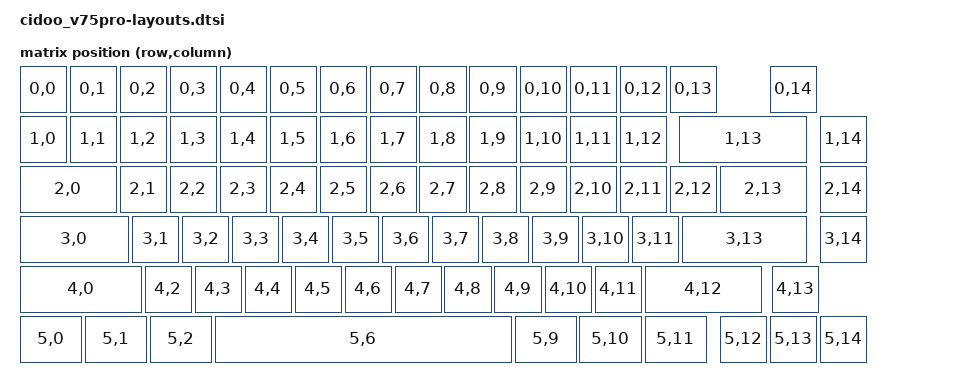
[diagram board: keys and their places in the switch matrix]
/*
 * SPDX-License-Identifier: GPL-3.0-or-later
 */

/*
 * CIDOO V75 Pro: matrix transform and physical layout.
 * Generated by gen_v75pro.py from Cidoo's CIDOO_V75PRO-USB.JSON.
 */

#include <dt-bindings/zmk/matrix_transform.h>
#include <physical_layouts.dtsi>

/ {
    default_transform: keymap_transform_0 {
        compatible = "zmk,matrix-transform";
        rows = <6>;
        columns = <15>;
        map = <
            RC(0,0) RC(0,1) RC(0,2) RC(0,3) RC(0,4) RC(0,5) RC(0,6) RC(0,7) RC(0,8) RC(0,9) RC(0,10) RC(0,11) RC(0,12) RC(0,13) RC(0,14) 
            RC(1,0) RC(1,1) RC(1,2) RC(1,3) RC(1,4) RC(1,5) RC(1,6) RC(1,7) RC(1,8) RC(1,9) RC(1,10) RC(1,11) RC(1,12) RC(1,13) RC(1,14) 
            RC(2,0) RC(2,1) RC(2,2) RC(2,3) RC(2,4) RC(2,5) RC(2,6) RC(2,7) RC(2,8) RC(2,9) RC(2,10) RC(2,11) RC(2,12) RC(2,13) RC(2,14) 
            RC(3,0) RC(3,1) RC(3,2) RC(3,3) RC(3,4) RC(3,5) RC(3,6) RC(3,7) RC(3,8) RC(3,9) RC(3,10) RC(3,11) RC(3,13) RC(3,14) 
            RC(4,0) RC(4,2) RC(4,3) RC(4,4) RC(4,5) RC(4,6) RC(4,7) RC(4,8) RC(4,9) RC(4,10) RC(4,11) RC(4,12) RC(4,13) 
            RC(5,0) RC(5,1) RC(5,2) RC(5,6) RC(5,9) RC(5,10) RC(5,11) RC(5,12) RC(5,13) RC(5,14) 
        >;
    };

    v75pro_layout: v75pro_layout {
        compatible = "zmk,physical-layout";
        display-name = "ANSI 75%";
        transform = <&default_transform>;
        keys  //                     w   h    x    y  rot  rx  ry
            = <&key_physical_attrs 100 100    0    0    0   0   0>  // 0,0
            , <&key_physical_attrs 100 100  100    0    0   0   0>  // 0,1
            , <&key_physical_attrs 100 100  200    0    0   0   0>  // 0,2
            , <&key_physical_attrs 100 100  300    0    0   0   0>  // 0,3
            , <&key_physical_attrs 100 100  400    0    0   0   0>  // 0,4
            , <&key_physical_attrs 100 100  500    0    0   0   0>  // 0,5
            , <&key_physical_attrs 100 100  600    0    0   0   0>  // 0,6
            , <&key_physical_attrs 100 100  700    0    0   0   0>  // 0,7
            , <&key_physical_attrs 100 100  800    0    0   0   0>  // 0,8
            , <&key_physical_attrs 100 100  900    0    0   0   0>  // 0,9
            , <&key_physical_attrs 100 100 1000    0    0   0   0>  // 0,10
            , <&key_physical_attrs 100 100 1100    0    0   0   0>  // 0,11
            , <&key_physical_attrs 100 100 1200    0    0   0   0>  // 0,12
            , <&key_physical_attrs 100 100 1300    0    0   0   0>  // 0,13
            , <&key_physical_attrs 100 100 1500    0    0   0   0>  // 0,14
            , <&key_physical_attrs 100 100    0  100    0   0   0>  // 1,0
            , <&key_physical_attrs 100 100  100  100    0   0   0>  // 1,1
            , <&key_physical_attrs 100 100  200  100    0   0   0>  // 1,2
            , <&key_physical_attrs 100 100  300  100    0   0   0>  // 1,3
            , <&key_physical_attrs 100 100  400  100    0   0   0>  // 1,4
            , <&key_physical_attrs 100 100  500  100    0   0   0>  // 1,5
            , <&key_physical_attrs 100 100  600  100    0   0   0>  // 1,6
            , <&key_physical_attrs 100 100  700  100    0   0   0>  // 1,7
            , <&key_physical_attrs 100 100  800  100    0   0   0>  // 1,8
            , <&key_physical_attrs 100 100  900  100    0   0   0>  // 1,9
            , <&key_physical_attrs 100 100 1000  100    0   0   0>  // 1,10
            , <&key_physical_attrs 100 100 1100  100    0   0   0>  // 1,11
            , <&key_physical_attrs 100 100 1200  100    0   0   0>  // 1,12
            , <&key_physical_attrs 260 100 1320  100    0   0   0>  // 1,13
            , <&key_physical_attrs 100 100 1600  100    0   0   0>  // 1,14
            , <&key_physical_attrs 200 100    0  200    0   0   0>  // 2,0
            , <&key_physical_attrs 100 100  200  200    0   0   0>  // 2,1
            , <&key_physical_attrs 100 100  300  200    0   0   0>  // 2,2
            , <&key_physical_attrs 100 100  400  200    0   0   0>  // 2,3
            , <&key_physical_attrs 100 100  500  200    0   0   0>  // 2,4
            , <&key_physical_attrs 100 100  600  200    0   0   0>  // 2,5
            , <&key_physical_attrs 100 100  700  200    0   0   0>  // 2,6
            , <&key_physical_attrs 100 100  800  200    0   0   0>  // 2,7
            , <&key_physical_attrs 100 100  900  200    0   0   0>  // 2,8
            , <&key_physical_attrs 100 100 1000  200    0   0   0>  // 2,9
            , <&key_physical_attrs 100 100 1100  200    0   0   0>  // 2,10
            , <&key_physical_attrs 100 100 1200  200    0   0   0>  // 2,11
            , <&key_physical_attrs 100 100 1300  200    0   0   0>  // 2,12
            , <&key_physical_attrs 180 100 1400  200    0   0   0>  // 2,13
            , <&key_physical_attrs 100 100 1600  200    0   0   0>  // 2,14
            , <&key_physical_attrs 225 100    0  300    0   0   0>  // 3,0
            , <&key_physical_attrs 100 100  225  300    0   0   0>  // 3,1
            , <&key_physical_attrs 100 100  325  300    0   0   0>  // 3,2
            , <&key_physical_attrs 100 100  425  300    0   0   0>  // 3,3
            , <&key_physical_attrs 100 100  525  300    0   0   0>  // 3,4
            , <&key_physical_attrs 100 100  625  300    0   0   0>  // 3,5
            , <&key_physical_attrs 100 100  725  300    0   0   0>  // 3,6
            , <&key_physical_attrs 100 100  825  300    0   0   0>  // 3,7
            , <&key_physical_attrs 100 100  925  300    0   0   0>  // 3,8
            , <&key_physical_attrs 100 100 1025  300    0   0   0>  // 3,9
            , <&key_physical_attrs 100 100 1125  300    0   0   0>  // 3,10
            , <&key_physical_attrs 100 100 1225  300    0   0   0>  // 3,11
            , <&key_physical_attrs 255 100 1325  300    0   0   0>  // 3,13
            , <&key_physical_attrs 100 100 1600  300    0   0   0>  // 3,14
            , <&key_physical_attrs 250 100    0  400    0   0   0>  // 4,0
            , <&key_physical_attrs 100 100  250  400    0   0   0>  // 4,2
            , <&key_physical_attrs 100 100  350  400    0   0   0>  // 4,3
            , <&key_physical_attrs 100 100  450  400    0   0   0>  // 4,4
            , <&key_physical_attrs 100 100  550  400    0   0   0>  // 4,5
            , <&key_physical_attrs 100 100  650  400    0   0   0>  // 4,6
            , <&key_physical_attrs 100 100  750  400    0   0   0>  // 4,7
            , <&key_physical_attrs 100 100  850  400    0   0   0>  // 4,8
            , <&key_physical_attrs 100 100  950  400    0   0   0>  // 4,9
            , <&key_physical_attrs 100 100 1050  400    0   0   0>  // 4,10
            , <&key_physical_attrs 100 100 1150  400    0   0   0>  // 4,11
            , <&key_physical_attrs 240 100 1250  400    0   0   0>  // 4,12
            , <&key_physical_attrs 100 100 1505  400    0   0   0>  // 4,13
            , <&key_physical_attrs 130 100    0  500    0   0   0>  // 5,0
            , <&key_physical_attrs 130 100  130  500    0   0   0>  // 5,1
            , <&key_physical_attrs 130 100  260  500    0   0   0>  // 5,2
            , <&key_physical_attrs 600 100  390  500    0   0   0>  // 5,6
            , <&key_physical_attrs 130 100  990  500    0   0   0>  // 5,9
            , <&key_physical_attrs 130 100 1120  500    0   0   0>  // 5,10
            , <&key_physical_attrs 130 100 1250  500    0   0   0>  // 5,11
            , <&key_physical_attrs 100 100 1400  500    0   0   0>  // 5,12
            , <&key_physical_attrs 100 100 1500  500    0   0   0>  // 5,13
            , <&key_physical_attrs 100 100 1600  500    0   0   0>  // 5,14
            ;
    };
};
